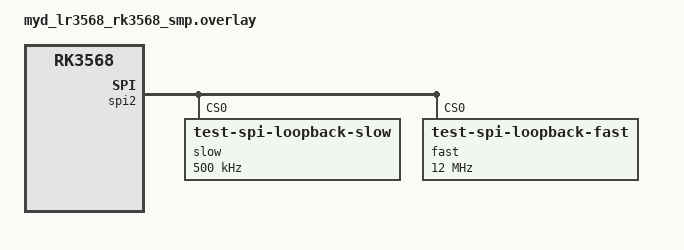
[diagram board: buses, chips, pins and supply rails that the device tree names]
/*
 * SPDX-FileCopyrightText: Copyright The Zephyr Project Contributors
 * SPDX-License-Identifier: Apache-2.0
 */

/* SPI2 M1 on J13: wire MOSI (pin 19) to MISO (pin 21) */
&spi2 {
	slow@0 {
		compatible = "test-spi-loopback-slow";
		reg = <0>;
		spi-max-frequency = <500000>;
	};

	fast@0 {
		compatible = "test-spi-loopback-fast";
		reg = <0>;
		spi-max-frequency = <12000000>;
	};
};
